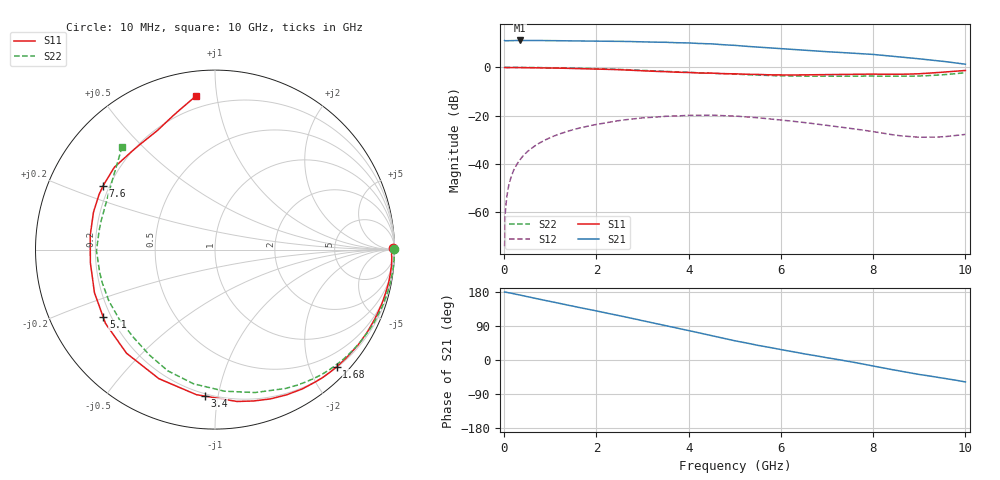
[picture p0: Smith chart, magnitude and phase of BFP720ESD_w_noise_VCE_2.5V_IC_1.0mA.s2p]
! Infineon Technologies  Discrete & RF Semiconductors
! BFP720ESD
! VCE =  2.5 V,  IC =  1.0 mA
! Common Emitter S-Parameters:  Jan 2016
# GHz  S  MA  R  50
!  f  S11  S21  S12  S22
! GHz  MAG  ANG  MAG  ANG  MAG  ANG  MAG  ANG
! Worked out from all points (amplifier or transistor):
!   233 points, 10 MHz to 10 GHz, reference 50 ohm
!   highest |S21| = 11.1 dB at 340 MHz (marker M1)
!   |S21| within 3 dB of that: start of sweep to 5.686 GHz
!   unconditionally stable (mu >= 1): 7.577 GHz to 9.849 GHz
!   at 200 MHz: K = 0.02, MSG = 27.0 dB, |S12| = -42.9 dB
!   at 1.74 GHz: K = 0.15, MSG = 17.8 dB, |S12| = -24.7 dB
!   at 10 GHz: K = 0.76, MSG = 14.5 dB, |S12| = -27.7 dB
!   lowest NFmin = 0.56 dB at 450 MHz
!   S11 on the Smith chart (normalised r, x): 10 MHz: open; 1.68 GHz: 0.22, -2.47; 3.4 GHz: 0.19, -0.91; 5.1 GHz: 0.17, -0.27; 7.6 GHz: 0.18, +0.26; 10 GHz: 0.13, +0.87
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0.01  0.9895 0.4  3.586 179.3  0.0002 -112.8  0.9994 0.3
0.015  0.9906 -0.0  3.565 179.4  0.0003 95.0  0.9989 0.1
0.02  0.9918 -0.4  3.545 179.5  0.0008 88.3  0.9984 -0.1
0.025  0.9904 -0.5  3.546 179.3  0.001 89.9  0.9986 -0.2
0.085  0.9854 -2.1  3.567 177.9  0.0031 88.8  0.9996 -1.7
0.2  0.9876 -5.0  3.587 175.1  0.0072 85.8  0.9992 -4.0
0.34  0.9852 -8.6  3.596 171.5  0.0121 82.6  0.9977 -6.9
0.66  0.9781 -17.0  3.589 163.2  0.0235 75.5  0.9911 -13.4
1  0.9674 -25.8  3.567 154.6  0.0352 68.0  0.9817 -20.3
1.68  0.9412 -43.9  3.508 137.3  0.0568 52.9  0.9545 -34.5
2.6  0.8871 -69.7  3.437 114.3  0.0817 32.9  0.8996 -54.1
3  0.8551 -81.7  3.389 103.8  0.09 23.8  0.8672 -63.2
3.4  0.8179 -94.1  3.301 93.3  0.0953 14.8  0.8321 -72.2
4  0.7842 -113.5  3.2 77.7  0.1015 2.0  0.7906 -86.2
4.5  0.7592 -130.5  3.061 63.9  0.1026 -9.4  0.7569 -99.2
5.1  0.7278 -148.8  2.794 48.5  0.0966 -21.9  0.7162 -113.3
6  0.6982 -174.1  2.44 27.4  0.0816 -37.1  0.668 -132.6
6.8  0.702 167.1  2.161 10.3  0.0667 -44.9  0.6554 -150.0
7.6  0.7178 150.2  1.95 -6.5  0.0531 -48.1  0.655 -168.7
8.4  0.717 130.5  1.701 -25.1  0.0406 -44.5  0.6541 170.7
9  0.7364 116.0  1.5 -38.2  0.0358 -33.1  0.662 155.9
10  0.8608 97.2  1.16 -57.9  0.041 -16.2  0.7725 132.0
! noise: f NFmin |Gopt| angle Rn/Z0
0.45  0.56  0.81  6  0.42
0.9  0.59  0.81  16  0.4
1.9  0.79  0.7  38  0.38
2.4  0.92  0.68  50  0.39
5.5  1.52  0.49  133  0.12
10  3.38  0.7  -109  0.85
